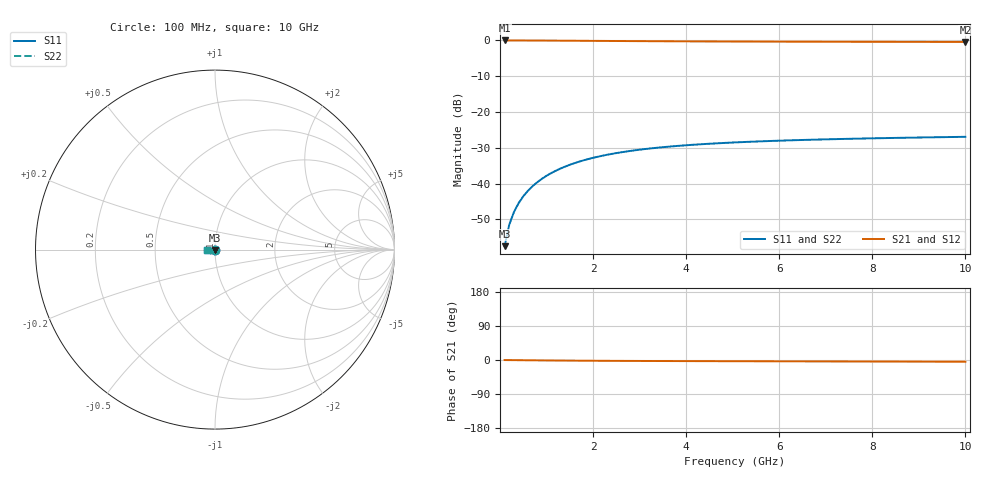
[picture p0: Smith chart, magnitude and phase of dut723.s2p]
! Touchstone file exported from HFSS 2024.1.0
!  File:  C:/UserFiles/LocalFiles/RDL_TSV_Batchsim/temp_TSV1_723_1779868586.aedt
!  Generated:  04:02:59 PM May 27, 2026
!  Design:  TSV1
!  Project:  temp_TSV1_723_1779868586
!  Setup:  Setup1
!  Solution:  Sweep
! Variables:
!  dtsv = 13.04um
!  hbump = 3um
!  htsv = 68.57um
!  lrdl = 252.1521522um
!  p = 40
!  p1 = 55.94um
!  t = 500um
!  trdl = 3um
!  wrdl = 24.89489489um
# GHz S MA R 50.000000
! Terminal data exported
! Port[1] = TSV22_T1
! Port[2] = TSV22_T2
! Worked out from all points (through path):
!   100 points, 100 MHz to 10 GHz, reference 50 ohm
!   highest |S21| = 0.00 dB at 100 MHz (marker M1); lowest = -0.4 dB at 10 GHz (marker M2)
!   lowest |S11| = -57.5 dB at 100 MHz (marker M3), VSWR 1.00, Z = 50 - j0.133 ohm
!   |S11| at or under -10 dB: start of sweep to end of sweep
!   |S22| runs from -57.5 to -26.9 dB; largest |S21 - S12| = 2e-15
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0.1  0.001334 -88.5  0.9999 -0.1  0.9999 -0.1  0.001334 -88.5
! Gamma 0 0 0 0
! Port Impedance 50 0 50 0
0.2  0.002665 -91.9  0.9997 -0.2  0.9997 -0.2  0.002665 -91.9
0.3  0.003994 -94.4  0.9995 -0.4  0.9995 -0.4  0.003994 -94.4
0.4  0.005316 -96.5  0.9992 -0.5  0.9992 -0.5  0.005316 -96.5
0.5  0.006624 -98.6  0.9988 -0.6  0.9988 -0.6  0.006624 -98.6
0.6  0.007916 -100.6  0.9983 -0.7  0.9983 -0.7  0.007916 -100.6
0.7  0.009186 -102.5  0.9977 -0.8  0.9977 -0.8  0.009186 -102.5
0.8  0.01043 -104.4  0.9971 -0.9  0.9971 -0.9  0.01043 -104.4
0.9  0.01165 -106.3  0.9964 -1.0  0.9964 -1.0  0.01165 -106.3
1.1  0.014 -109.9  0.995 -1.2  0.995 -1.2  0.014 -109.9
1.4  0.01727 -115.1  0.9924 -1.5  0.9924 -1.5  0.01727 -115.1
1.6  0.01929 -118.3  0.9907 -1.7  0.9907 -1.7  0.01929 -118.3
1.8  0.02116 -121.4  0.9888 -1.8  0.9888 -1.8  0.02116 -121.4
2.1  0.02371 -125.7  0.986 -2.0  0.986 -2.0  0.02371 -125.7
2.5  0.02666 -130.9  0.9824 -2.3  0.9824 -2.3  0.02666 -130.9
2.9  0.02917 -135.6  0.9791 -2.5  0.9791 -2.5  0.02917 -135.6
3.4  0.03178 -140.8  0.9753 -2.7  0.9753 -2.7  0.03178 -140.8
4.2  0.03503 -147.9  0.9702 -3.0  0.9702 -3.0  0.03503 -147.9
5.1  0.03772 -154.5  0.9657 -3.2  0.9657 -3.2  0.03772 -154.5
6.7  0.04101 -163.8  0.9601 -3.7  0.9601 -3.7  0.04101 -163.8
8.4  0.04335 -171.6  0.9563 -4.1  0.9563 -4.1  0.04335 -171.6
10  0.045 -177.6  0.9538 -4.6  0.9538 -4.6  0.045 -177.6
